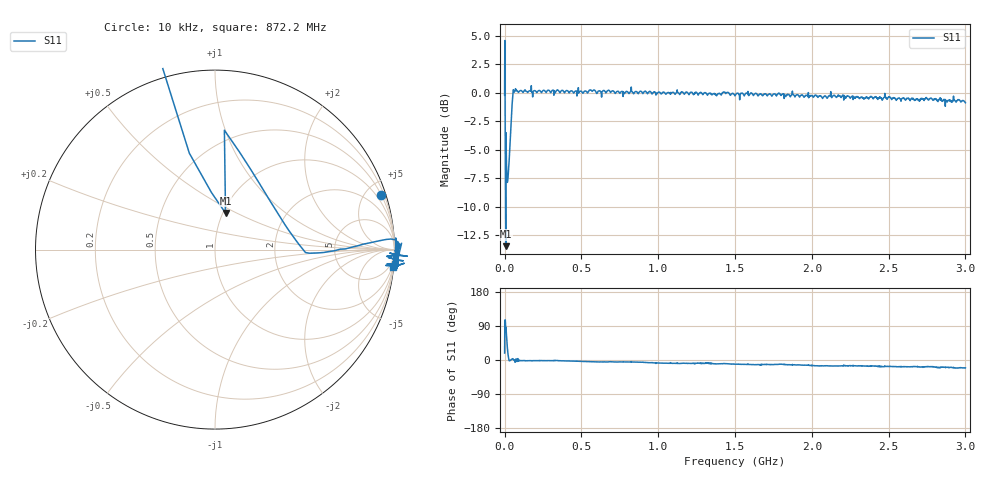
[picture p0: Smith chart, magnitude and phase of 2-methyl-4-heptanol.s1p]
# HZ S RI R 50
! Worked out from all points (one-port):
!   2020 points, 10 kHz to 3 GHz, reference 50 ohm
!   lowest |S11| = -13.5 dB at 7.439 MHz (marker M1), VSWR 1.54, Z = 51.5 + j22 ohm
!   |S11| at or under -10 dB: 5.979 MHz to 7.958 MHz (1.979 MHz wide, 28.4 % of centre)
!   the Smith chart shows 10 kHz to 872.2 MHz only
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10000  0.9246 0.3056
7439395  0.0586 0.2037
1.635467e7  0.3114 0.2636
1.784055e7  0.3399 0.218
1.932643e7  0.3647 0.1775
2.82417e7  0.487 0.00477
3.269934e7  0.5527 -0.019
5.201576e7  0.954 0.0566
5.944516e7  1.012 -0.00392
6.836043e7  1.013 -0.1064
9.510626e7  1.011 -0.0308
3.759374e8  1.022 -0.0393
6.062486e8  1.003 -0.0924
7.503789e8  0.9883 -0.0865
1.126306e9  0.9916 -0.1544
1.319471e9  0.9668 -0.1326
1.378906e9  0.9549 -0.1777
1.438341e9  0.9793 -0.1644
1.500748e9  0.9514 -0.1848
1.627048e9  0.9638 -0.2101
1.803867e9  0.9598 -0.1875
1.875189e9  0.9579 -0.2222
2.038636e9  0.9204 -0.2519
2.251117e9  0.9128 -0.2442
2.625558e9  0.898 -0.2864
2.769688e9  0.8984 -0.2838
2.826152e9  0.874 -0.3138
3e9  0.8432 -0.3214
